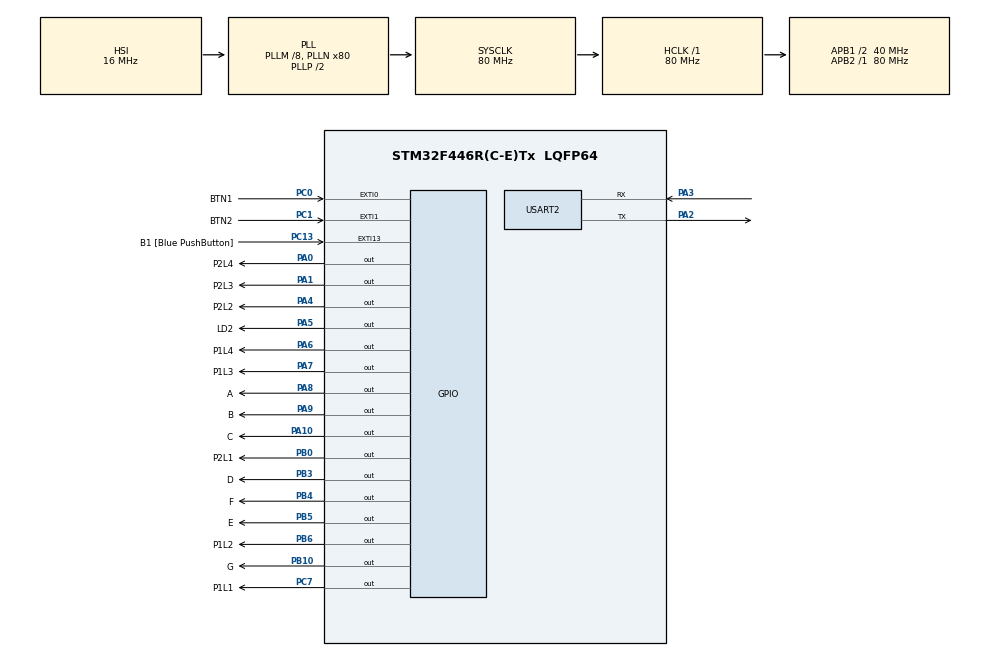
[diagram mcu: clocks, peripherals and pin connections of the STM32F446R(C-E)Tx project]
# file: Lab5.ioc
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Mcu.Family=STM32F4
Mcu.Name=STM32F446R(C-E)Tx
Mcu.Package=LQFP64
NVIC.EXTI0_IRQn=true\:0\:0\:false\:false\:true\:true\:true\:true
NVIC.EXTI15_10_IRQn=true\:0\:0\:false\:false\:true\:true\:true\:true
NVIC.EXTI1_IRQn=true\:0\:0\:false\:false\:true\:true\:true\:true
NVIC.PriorityGroup=NVIC_PRIORITYGROUP_0
PA0-WKUP.GPIO_Label=P2L4
PA0-WKUP.Signal=GPIO_Output
PA1.GPIO_Label=P2L3
PA1.Signal=GPIO_Output
PA10.GPIO_Label=C
PA10.Signal=GPIO_Output
PA13.GPIO_Label=TMS
PA13.Mode=Serial_Wire
PA13.Signal=SYS_JTMS-SWDIO
PA14.GPIO_Label=TCK
PA14.Mode=Serial_Wire
PA14.Signal=SYS_JTCK-SWCLK
PA2.Mode=Asynchronous
PA2.Signal=USART2_TX
PA3.Mode=Asynchronous
PA3.Signal=USART2_RX
PA4.GPIO_Label=P2L2
PA4.Signal=GPIO_Output
PA5.GPIO_Label=LD2
PA5.Signal=GPIO_Output
PA6.GPIO_Label=P1L4
PA6.Signal=GPIO_Output
PA7.GPIO_Label=P1L3
PA7.Signal=GPIO_Output
PA8.GPIO_Label=A
PA8.Signal=GPIO_Output
PA9.GPIO_Label=B
PA9.Signal=GPIO_Output
PB0.GPIO_Label=P2L1
PB0.Signal=GPIO_Output
PB10.GPIO_Label=G
PB10.Signal=GPIO_Output
PB3.GPIO_Label=D
PB3.Signal=GPIO_Output
PB4.GPIO_Label=F
PB4.Signal=GPIO_Output
PB5.GPIO_Label=E
PB5.Signal=GPIO_Output
PB6.GPIO_Label=P1L2
PB6.Signal=GPIO_Output
PC0.GPIO_Label=BTN1
PC0.GPIO_ModeDefaultEXTI=GPIO_MODE_IT_FALLING
PC0.GPIO_PuPd=GPIO_PULLUP
PC0.Signal=GPXTI0
PC1.GPIO_Label=BTN2
PC1.GPIO_ModeDefaultEXTI=GPIO_MODE_IT_FALLING
PC1.GPIO_PuPd=GPIO_PULLUP
PC1.Signal=GPXTI1
PC13.GPIO_Label=B1 [Blue PushButton]
PC13.GPIO_ModeDefaultEXTI=GPIO_MODE_IT_FALLING
PC13.GPIO_PuPd=GPIO_PULLUP
PC13.Signal=GPXTI13
PC14-OSC32_IN.Mode=LSE-External-Oscillator
PC14-OSC32_IN.Signal=RCC_OSC32_IN
PC15-OSC32_OUT.Mode=LSE-External-Oscillator
PC15-OSC32_OUT.Signal=RCC_OSC32_OUT
PC7.GPIO_Label=P1L1
PC7.Signal=GPIO_Output
PH0-OSC_IN.Mode=HSE-External-Oscillator
PH0-OSC_IN.Signal=RCC_OSC_IN
PH1-OSC_OUT.Mode=HSE-External-Oscillator
PH1-OSC_OUT.Signal=RCC_OSC_OUT
ProjectManager.HeapSize=0x200
ProjectManager.StackSize=0x400
ProjectManager.TargetToolchain=STM32CubeIDE
RCC.48MHZClocksFreq_Value=84000000
RCC.AHBFreq_Value=80000000
RCC.APB1CLKDivider=RCC_HCLK_DIV2
RCC.APB1Freq_Value=40000000
RCC.APB1TimFreq_Value=80000000
RCC.APB2Freq_Value=80000000
RCC.APB2TimFreq_Value=80000000
RCC.CortexFreq_Value=80000000
RCC.FLatency-AdvancedSettings=FLASH_LATENCY_2
RCC.HCLKFreq_Value=80000000
RCC.HSE_VALUE=8000000
RCC.HSI_VALUE=16000000
RCC.PLLM=8
RCC.PLLN=80
RCC.SYSCLKFreq_VALUE=80000000
RCC.SYSCLKSource=RCC_SYSCLKSOURCE_PLLCLK
RCC.USBFreq_Value=80000000
RCC.VCOOutputFreq_Value=160000000
USART2.VirtualMode=VM_ASYNC
board=NUCLEO-F446RE

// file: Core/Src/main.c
/* USER CODE BEGIN Header */
/**
  ******************************************************************************
  * @file           : main.c
  * @brief          : Main program body
  ******************************************************************************
  * @attention
  *
  * Copyright (c) 2025 STMicroelectronics.
  * All rights reserved.
  *
  * This software is licensed under terms that can be found in the LICENSE file
  * in the root directory of this software component.
  * If no LICENSE file comes with this software, it is provided AS-IS.
  *
  ******************************************************************************
  */
/* USER CODE END Header */
#include "main.h"

/* USER CODE BEGIN Includes */
#include <stdint.h>
/* USER CODE END Includes */

UART_HandleTypeDef huart2;

/* USER CODE BEGIN PV */
GPIO_TypeDef *p1_ports[] = {P1L1_GPIO_Port, P1L2_GPIO_Port, P1L3_GPIO_Port, P1L4_GPIO_Port}; 				// pin port
uint16_t p1_pins[] = {P1L1_Pin, P1L2_Pin, P1L3_Pin, P1L4_Pin}; 												// pin number

GPIO_TypeDef *p2_ports[] = {P2L1_GPIO_Port, P2L2_GPIO_Port, P2L3_GPIO_Port, P2L4_GPIO_Port}; 				// pin port
uint16_t p2_pins[] = {P2L1_Pin, P2L2_Pin, P2L3_Pin, P2L4_Pin}; 												// pin number

uint8_t cont1 = 0;
uint8_t cont2 = 0;
uint8_t start = 0;
uint8_t player1 = 0;
uint8_t player2 = 0;
/* USER CODE END PV */

void SystemClock_Config(void);
static void MX_GPIO_Init(void);
static void MX_USART2_UART_Init(void);
/* USER CODE BEGIN PFP */
void showDisplay(uint8_t number);
/* USER CODE END PFP */

int main(void)
{

  /* MCU Configuration--------------------------------------------------------*/

  /* Reset of all peripherals, Initializes the Flash interface and the Systick. */
  HAL_Init();

  /* Configure the system clock */
  SystemClock_Config();

  /* Initialize all configured peripherals */
  MX_GPIO_Init();
  MX_USART2_UART_Init();

  /* Infinite loop */
  /* USER CODE BEGIN WHILE */
  while (1)
  {
	  if(start == 1){
		  HAL_GPIO_WritePin(LD2_GPIO_Port, LD2_Pin, SET);									// game has started
		  showDisplay(5); HAL_Delay(1000);													// it displays number 5 on display and waits one second
		  showDisplay(4); HAL_Delay(1000);													// it displays number 4 on display and waits one second
		  showDisplay(3); HAL_Delay(1000);													// it displays number 3 on display and waits one second
		  showDisplay(2); HAL_Delay(1000);													// it displays number 2 on display and waits one second
		  showDisplay(1); HAL_Delay(1000);													// it displays number 1 on display and waits one second
		  showDisplay(0); start = 2;														// it displays number 0 on display and start the game
	  }

	  if(player1 == 1){																		// player1 wins
		  showDisplay(1);																	// it displays number 1 on display
		  HAL_Delay(500); player1 = 2;														// delay for showing 4th LED, it sets value to 2 for doing it once
		  for(uint8_t i = 0; i < 4; i++) HAL_GPIO_WritePin(p1_ports[i], p1_pins[i], SET);	// sets all of its LEDs
		  for(uint8_t j = 0; j < 4; j++) HAL_GPIO_WritePin(p2_ports[j], p2_pins[j], RESET);	// resets all of player2's LEDs
	  }

	  if(player2 == 1){																		// player2 wins
		  showDisplay(2);																	// it displays number 2 on display
		  HAL_Delay(500); player2 = 2;														// delay for showing 4th LED, it sets value to 2 for doing it once
		  for(uint8_t j = 0; j < 4; j++) HAL_GPIO_WritePin(p2_ports[j], p2_pins[j], SET);	// sets all of its LEDs
		  for(uint8_t i = 0; i < 4; i++) HAL_GPIO_WritePin(p1_ports[i], p1_pins[i], RESET);	// resets all of player1's LEDs
	  }

    /* USER CODE END WHILE */

  }
}

void SystemClock_Config(void)
{
  RCC_OscInitTypeDef RCC_OscInitStruct = {0};
  RCC_ClkInitTypeDef RCC_ClkInitStruct = {0};

  /** Configure the main internal regulator output voltage
  */
  __HAL_RCC_PWR_CLK_ENABLE();
  __HAL_PWR_VOLTAGESCALING_CONFIG(PWR_REGULATOR_VOLTAGE_SCALE3);

  /** Initializes the RCC Oscillators according to the specified parameters
  * in the RCC_OscInitTypeDef structure.
  */
  RCC_OscInitStruct.OscillatorType = RCC_OSCILLATORTYPE_HSI;
  RCC_OscInitStruct.HSIState = RCC_HSI_ON;
  RCC_OscInitStruct.HSICalibrationValue = RCC_HSICALIBRATION_DEFAULT;
  RCC_OscInitStruct.PLL.PLLState = RCC_PLL_ON;
  RCC_OscInitStruct.PLL.PLLSource = RCC_PLLSOURCE_HSI;
  RCC_OscInitStruct.PLL.PLLM = 8;
  RCC_OscInitStruct.PLL.PLLN = 80;
  RCC_OscInitStruct.PLL.PLLP = RCC_PLLP_DIV2;
  RCC_OscInitStruct.PLL.PLLQ = 2;
  RCC_OscInitStruct.PLL.PLLR = 2;
  if (HAL_RCC_OscConfig(&RCC_OscInitStruct) != HAL_OK)
  {
    Error_Handler();
  }

  /** Initializes the CPU, AHB and APB buses clocks
  */
  RCC_ClkInitStruct.ClockType = RCC_CLOCKTYPE_HCLK|RCC_CLOCKTYPE_SYSCLK
                              |RCC_CLOCKTYPE_PCLK1|RCC_CLOCKTYPE_PCLK2;
  RCC_ClkInitStruct.SYSCLKSource = RCC_SYSCLKSOURCE_PLLCLK;
  RCC_ClkInitStruct.AHBCLKDivider = RCC_SYSCLK_DIV1;
  RCC_ClkInitStruct.APB1CLKDivider = RCC_HCLK_DIV2;
  RCC_ClkInitStruct.APB2CLKDivider = RCC_HCLK_DIV1;

  if (HAL_RCC_ClockConfig(&RCC_ClkInitStruct, FLASH_LATENCY_2) != HAL_OK)
  {
    Error_Handler();
  }
}

static void MX_USART2_UART_Init(void)
{

  huart2.Instance = USART2;
  huart2.Init.BaudRate = 115200;
  huart2.Init.WordLength = UART_WORDLENGTH_8B;
  huart2.Init.StopBits = UART_STOPBITS_1;
  huart2.Init.Parity = UART_PARITY_NONE;
  huart2.Init.Mode = UART_MODE_TX_RX;
  huart2.Init.HwFlowCtl = UART_HWCONTROL_NONE;
  huart2.Init.OverSampling = UART_OVERSAMPLING_16;
  if (HAL_UART_Init(&huart2) != HAL_OK)
  {
    Error_Handler();
  }

}

static void MX_GPIO_Init(void)
{
  GPIO_InitTypeDef GPIO_InitStruct = {0};

  /* GPIO Ports Clock Enable */
  __HAL_RCC_GPIOC_CLK_ENABLE();
  __HAL_RCC_GPIOH_CLK_ENABLE();
  __HAL_RCC_GPIOA_CLK_ENABLE();
  __HAL_RCC_GPIOB_CLK_ENABLE();

  /*Configure GPIO pin Output Level */
  HAL_GPIO_WritePin(GPIOA, P2L4_Pin|P2L3_Pin|P2L2_Pin|LD2_Pin
                          |P1L4_Pin|P1L3_Pin|A_Pin|B_Pin
                          |C_Pin, GPIO_PIN_RESET);

  /*Configure GPIO pin Output Level */
  HAL_GPIO_WritePin(GPIOB, P2L1_Pin|G_Pin|D_Pin|F_Pin
                          |E_Pin|P1L2_Pin, GPIO_PIN_RESET);

  /*Configure GPIO pin Output Level */
  HAL_GPIO_WritePin(P1L1_GPIO_Port, P1L1_Pin, GPIO_PIN_RESET);

  /*Configure GPIO pins : B1_Pin BTN1_Pin BTN2_Pin */
  GPIO_InitStruct.Pin = B1_Pin|BTN1_Pin|BTN2_Pin;
  GPIO_InitStruct.Mode = GPIO_MODE_IT_FALLING;
  GPIO_InitStruct.Pull = GPIO_PULLUP;
  HAL_GPIO_Init(GPIOC, &GPIO_InitStruct);

  /*Configure GPIO pins : P2L4_Pin P2L3_Pin P2L2_Pin LD2_Pin
                           P1L4_Pin P1L3_Pin A_Pin B_Pin
                           C_Pin */
  GPIO_InitStruct.Pin = P2L4_Pin|P2L3_Pin|P2L2_Pin|LD2_Pin
                          |P1L4_Pin|P1L3_Pin|A_Pin|B_Pin
                          |C_Pin;
  GPIO_InitStruct.Mode = GPIO_MODE_OUTPUT_PP;
  GPIO_InitStruct.Pull = GPIO_NOPULL;
  GPIO_InitStruct.Speed = GPIO_SPEED_FREQ_LOW;
  HAL_GPIO_Init(GPIOA, &GPIO_InitStruct);

  /*Configure GPIO pins : P2L1_Pin G_Pin D_Pin F_Pin
                           E_Pin P1L2_Pin */
  GPIO_InitStruct.Pin = P2L1_Pin|G_Pin|D_Pin|F_Pin
                          |E_Pin|P1L2_Pin;
  GPIO_InitStruct.Mode = GPIO_MODE_OUTPUT_PP;
  GPIO_InitStruct.Pull = GPIO_NOPULL;
  GPIO_InitStruct.Speed = GPIO_SPEED_FREQ_LOW;
  HAL_GPIO_Init(GPIOB, &GPIO_InitStruct);

  /*Configure GPIO pin : P1L1_Pin */
  GPIO_InitStruct.Pin = P1L1_Pin;
  GPIO_InitStruct.Mode = GPIO_MODE_OUTPUT_PP;
  GPIO_InitStruct.Pull = GPIO_NOPULL;
  GPIO_InitStruct.Speed = GPIO_SPEED_FREQ_LOW;
  HAL_GPIO_Init(P1L1_GPIO_Port, &GPIO_InitStruct);

  /* EXTI interrupt init*/
  HAL_NVIC_SetPriority(EXTI0_IRQn, 0, 0);
  HAL_NVIC_EnableIRQ(EXTI0_IRQn);

  HAL_NVIC_SetPriority(EXTI1_IRQn, 0, 0);
  HAL_NVIC_EnableIRQ(EXTI1_IRQn);

  HAL_NVIC_SetPriority(EXTI15_10_IRQn, 0, 0);
  HAL_NVIC_EnableIRQ(EXTI15_10_IRQn);

}

/* USER CODE BEGIN 4 */
void HAL_GPIO_EXTI_Callback(uint16_t GPIO_Pin){												// interrupt for buttons
	if (GPIO_Pin == BTN1_Pin && player1 == 0 && player2 == 0 && start == 2){				// BTN player1, if nobody wins, yet..., allow players to play when countdown ends
		for(uint8_t i = 0; i < 4; i++) HAL_GPIO_WritePin(p1_ports[i], p1_pins[i], RESET);	// turn off LEDs
		cont1++;																			// increase player1's counter
		if (cont1 >= 5) cont1 = 4;															// it keeps counter if it's bigger than 4
		if (cont1 == 4 && player1 == 0) player1 = 1;										// player1 wins, activate all of its LEDs once
		if (cont1 > 0) HAL_GPIO_WritePin(p1_ports[cont1-1], p1_pins[cont1-1], SET);			// showing the respective pin
	}

	if (GPIO_Pin == BTN2_Pin && player1 == 0 && player2 == 0 && start == 2){				// BTN player2, if nobody wins, yet..., allow players to play when countdown ends
		for(uint8_t j = 0; j < 4; j++) HAL_GPIO_WritePin(p2_ports[j], p2_pins[j], RESET);	// turn off LEDs
		cont2++;																			// increase player2's counter
		if (cont2 >= 5) cont2 = 4;															// it keeps counter if it's bigger than 4
		if (cont2 == 4 && player2 == 0)	player2 = 1;										// player2 wins, activate all of its LEDs once
		if (cont2 > 0) HAL_GPIO_WritePin(p2_ports[cont2-1], p2_pins[cont2-1], SET);			// showing the respective pin
	}

	if (GPIO_Pin == B1_Pin && start == 0) start = 1;										// Integrated BTN, start the game's countdown if game's never been started before
}

void showDisplay(uint8_t number) {	// It updates every display's pin, it compares every pattern bit to set or reset the display pin
	uint8_t displayN[] = {0x3F,0x06,0x5B,0x4F,0x66,0x6D,0x7D,0x07,0x7F,0x6F,0x77,0x7C,0x39,0x5E,0x79,0x71};							// Numbers for display, hex, 0-F
	GPIO_TypeDef *display_ports[] = {A_GPIO_Port, B_GPIO_Port, C_GPIO_Port, D_GPIO_Port, E_GPIO_Port, F_GPIO_Port, G_GPIO_Port}; 	// pin port, add dot if necessary
	uint16_t display_pins[] = {A_Pin, B_Pin, C_Pin, D_Pin, E_Pin, F_Pin, G_Pin}; 													// pin number, add dot if necessary
	for (int k = 0; k < 7; k++) HAL_GPIO_WritePin(display_ports[k], display_pins[k], (displayN[number]>> k) & 1); 					// Not using dot, if using dot, k<8
}
/* USER CODE END 4 */

void Error_Handler(void)
{
  __disable_irq();
  while (1)
  {
  }
}
